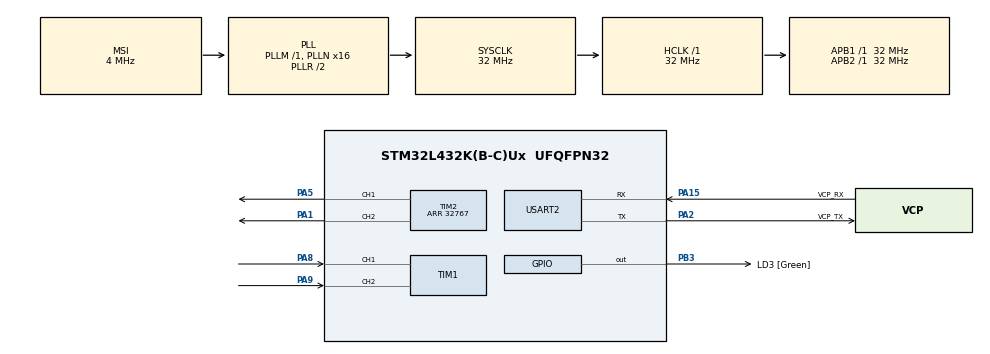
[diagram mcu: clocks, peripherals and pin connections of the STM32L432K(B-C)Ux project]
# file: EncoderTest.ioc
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Mcu.Family=STM32L4
Mcu.Name=STM32L432K(B-C)Ux
Mcu.Package=UFQFPN32
NVIC.PriorityGroup=NVIC_PRIORITYGROUP_4
NVIC.TIM1_BRK_TIM15_IRQn=true\:0\:0\:false\:false\:true\:true\:true\:true
NVIC.TIM1_CC_IRQn=true\:0\:0\:false\:false\:true\:true\:true\:true
NVIC.TIM1_TRG_COM_IRQn=true\:0\:0\:false\:false\:true\:true\:true\:true
NVIC.TIM1_UP_TIM16_IRQn=true\:0\:0\:false\:false\:true\:true\:true\:true
PA0.GPIO_Label=MCO [High speed clock in]
PA0.Mode=HSE-External-Clock-Source-for-LittleOrca
PA0.Signal=RCC_CK_IN
PA1.Signal=S_TIM2_CH2
PA13\ (JTMS-SWDIO).GPIO_Label=SWDIO
PA13\ (JTMS-SWDIO).Mode=Serial_Wire
PA13\ (JTMS-SWDIO).Signal=SYS_JTMS-SWDIO
PA14\ (JTCK-SWCLK).GPIO_Label=SWCLK
PA14\ (JTCK-SWCLK).Mode=Serial_Wire
PA14\ (JTCK-SWCLK).Signal=SYS_JTCK-SWCLK
PA15\ (JTDI).GPIO_Label=VCP_RX
PA15\ (JTDI).Mode=Asynchronous
PA15\ (JTDI).Signal=USART2_RX
PA2.GPIO_Label=VCP_TX
PA2.Mode=Asynchronous
PA2.Signal=USART2_TX
PA5.Signal=S_TIM2_CH1
PA8.Signal=S_TIM1_CH1
PA9.Signal=S_TIM1_CH2
PB3\ (JTDO-TRACESWO).GPIO_Label=LD3 [Green]
PB3\ (JTDO-TRACESWO).Signal=GPIO_Output
PC14-OSC32_IN\ (PC14).Mode=LSE-External-Oscillator
PC14-OSC32_IN\ (PC14).Signal=RCC_OSC32_IN
PC15-OSC32_OUT\ (PC15).Mode=LSE-External-Oscillator
PC15-OSC32_OUT\ (PC15).Signal=RCC_OSC32_OUT
ProjectManager.HeapSize=0x200
ProjectManager.StackSize=0x400
ProjectManager.TargetToolchain=STM32CubeIDE
RCC.AHBFreq_Value=32000000
RCC.APB1Freq_Value=32000000
RCC.APB1TimFreq_Value=32000000
RCC.APB2Freq_Value=32000000
RCC.APB2TimFreq_Value=32000000
RCC.CortexFreq_Value=32000000
RCC.HCLKFreq_Value=32000000
RCC.HSE_VALUE=8000000
RCC.HSI16_VALUE=16000000
RCC.HSI48_VALUE=48000000
RCC.HSI_VALUE=16000000
RCC.MSI_VALUE=4000000
RCC.PLLMUL=RCC_PLLMUL_4
RCC.PLLN=16
RCC.SYSCLKFreq_VALUE=32000000
RCC.SYSCLKSource=RCC_SYSCLKSOURCE_PLLCLK
RCC.VCOOutputFreq_Value=64000000
SH.S_TIM1_CH1.0=TIM1_CH1,Encoder_Interface
SH.S_TIM1_CH2.0=TIM1_CH2,Encoder_Interface
SH.S_TIM2_CH1.0=TIM2_CH1,PWM Generation1 CH1
SH.S_TIM2_CH2.0=TIM2_CH2,PWM Generation2 CH2
TIM1.EncoderMode=TIM_ENCODERMODE_TI12
TIM1.IC1Polarity=TIM_ICPOLARITY_FALLING
TIM1.IC2Polarity=TIM_ICPOLARITY_FALLING
TIM2.AutoReloadPreload=TIM_AUTORELOAD_PRELOAD_ENABLE
TIM2.Channel-PWM\ Generation1\ CH1=TIM_CHANNEL_1
TIM2.Channel-PWM\ Generation2\ CH2=TIM_CHANNEL_2
TIM2.OCPolarity_1=TIM_OCPOLARITY_HIGH
TIM2.Period=32767
TIM2.Pulse-PWM\ Generation1\ CH1=0
USART2.VirtualMode-Asynchronous=VM_ASYNC
VP_TIM2_VS_ClockSourceINT.Mode=Internal
board=NUCLEO-L432KC

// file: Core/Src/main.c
/* USER CODE BEGIN Header */
/**
  ******************************************************************************
  * @file           : main.c
  * @brief          : Main program body
  ******************************************************************************
  * @attention
  *
  * Copyright (c) 2024 STMicroelectronics.
  * All rights reserved.
  *
  * This software is licensed under terms that can be found in the LICENSE file
  * in the root directory of this software component.
  * If no LICENSE file comes with this software, it is provided AS-IS.
  *
  ******************************************************************************
  */
/* USER CODE END Header */
#include "main.h"

/* USER CODE BEGIN Includes */
#include "pid.h"
#include <stdio.h>
/* USER CODE END Includes */

/* USER CODE BEGIN PD */
#define MAX_PWM 255
#define MIN_PWM 20
#define Kp 5
#define HYSTERESIS 0
/* USER CODE END PD */

TIM_HandleTypeDef htim1;
TIM_HandleTypeDef htim2;

UART_HandleTypeDef huart2;

/* USER CODE BEGIN PV */

// TIM_Encoder variables
uint32_t counter = 0;
int16_t count, previous_count = 0, delta;
int32_t position = 0;
int32_t scaled_position;

// testing variables
uint32_t time, previous_time, previous_time_2 = 0;
uint32_t position_delta = 1;
uint8_t direction = 1;

// PID variables
PID_TypeDef TPID;
double EncoderPosition, PIDOut, TargetPosition;

/* USER CODE END PV */

void SystemClock_Config(void);
static void MX_GPIO_Init(void);
static void MX_USART2_UART_Init(void);
static void MX_TIM1_Init(void);
static void MX_TIM2_Init(void);

/* USER CODE BEGIN 0 */

void HAL_TIM_IC_CaptureCallback(TIM_HandleTypeDef *htim)
{
    counter = __HAL_TIM_GET_COUNTER(htim);
    count = (int16_t)counter;

    // Calculate delta and detect overflow/underflow
    delta = count - previous_count;

    if (delta > 32767) {
        // Underflow detected
        position -= 65536;
    } else if (delta < -32768) {
        // Overflow detected
        position += 65536;
    }

    // Accumulate the position
    position += delta;

    // Scale for encoder steps (divide by 4)
    scaled_position = position / 4;
    EncoderPosition = (double)scaled_position;
    // Update the previous count
    previous_count = count;
}
/* USER CODE END 0 */

int main(void)
{

  /* MCU Configuration--------------------------------------------------------*/

  /* Reset of all peripherals, Initializes the Flash interface and the Systick. */
  HAL_Init();

  /* Configure the system clock */
  SystemClock_Config();

  /* Initialize all configured peripherals */
  MX_GPIO_Init();
  MX_USART2_UART_Init();
  MX_TIM1_Init();
  MX_TIM2_Init();
  /* USER CODE BEGIN 2 */

  // Timer Calls
  HAL_TIM_Encoder_Start_IT(&htim1, TIM_CHANNEL_ALL);
  HAL_TIM_PWM_Start(&htim2, TIM_CHANNEL_1);
  HAL_TIM_PWM_Start(&htim2, TIM_CHANNEL_2);
  __HAL_TIM_SET_COMPARE(&htim2, TIM_CHANNEL_1, 0);
  __HAL_TIM_SET_COMPARE(&htim2, TIM_CHANNEL_2, 0);

  // PID calls
  TargetPosition = 0;
  PID(&TPID, &EncoderPosition, &PIDOut, &TargetPosition, 1500, 0, 9,  _PID_P_ON_E, _PID_CD_DIRECT);
  PID_SetMode(&TPID, _PID_MODE_AUTOMATIC);
  PID_SetSampleTime(&TPID, 1);
  PID_SetOutputLimits(&TPID, -32767, 32767);
  /* USER CODE END 2 */

  /* Infinite loop */
  /* USER CODE BEGIN WHILE */
  while (1)
  {

	  	PID_Compute(&TPID);
	    if(PIDOut > 0){
	    	__HAL_TIM_SET_COMPARE(&htim2, TIM_CHANNEL_1, PIDOut);
	    	__HAL_TIM_SET_COMPARE(&htim2, TIM_CHANNEL_2, 0);
	    }else if (PIDOut < 0){
	    	__HAL_TIM_SET_COMPARE(&htim2, TIM_CHANNEL_1, 0);
	    	__HAL_TIM_SET_COMPARE(&htim2, TIM_CHANNEL_2, (PIDOut * -1));
	    }else{
	    	__HAL_TIM_SET_COMPARE(&htim2, TIM_CHANNEL_1, 0);
	    	__HAL_TIM_SET_COMPARE(&htim2, TIM_CHANNEL_2, 0);
	    }
      // get time in ms
      time = HAL_GetTick();
      if (time - previous_time >= 1000) {
        previous_time = time;
//        if(direction){
//        	TargetPosition += 10;
//        }else{
//           TargetPosition -= 10;
//        }

        TargetPosition += 590;
      }
//      if (TargetPosition > 200) {
//    	  direction = 0;
//      }else if(TargetPosition < -1){
//    	  direction = 1;
//      }
        //char buffer[10];
        //sprintf(buffer, "%lf\n\r", EncoderPosition);
        //HAL_UART_Transmit(&huart2, (uint8_t*)buffer, strlen(buffer), 60);

        HAL_Delay(1);

    /* USER CODE END WHILE */

  }
}

void SystemClock_Config(void)
{
  RCC_OscInitTypeDef RCC_OscInitStruct = {0};
  RCC_ClkInitTypeDef RCC_ClkInitStruct = {0};

  /** Configure the main internal regulator output voltage
  */
  if (HAL_PWREx_ControlVoltageScaling(PWR_REGULATOR_VOLTAGE_SCALE1) != HAL_OK)
  {
    Error_Handler();
  }

  /** Configure LSE Drive Capability
  */
  HAL_PWR_EnableBkUpAccess();
  __HAL_RCC_LSEDRIVE_CONFIG(RCC_LSEDRIVE_LOW);

  /** Initializes the RCC Oscillators according to the specified parameters
  * in the RCC_OscInitTypeDef structure.
  */
  RCC_OscInitStruct.OscillatorType = RCC_OSCILLATORTYPE_LSE|RCC_OSCILLATORTYPE_MSI;
  RCC_OscInitStruct.LSEState = RCC_LSE_ON;
  RCC_OscInitStruct.MSIState = RCC_MSI_ON;
  RCC_OscInitStruct.MSICalibrationValue = 0;
  RCC_OscInitStruct.MSIClockRange = RCC_MSIRANGE_6;
  RCC_OscInitStruct.PLL.PLLState = RCC_PLL_ON;
  RCC_OscInitStruct.PLL.PLLSource = RCC_PLLSOURCE_MSI;
  RCC_OscInitStruct.PLL.PLLM = 1;
  RCC_OscInitStruct.PLL.PLLN = 16;
  RCC_OscInitStruct.PLL.PLLP = RCC_PLLP_DIV7;
  RCC_OscInitStruct.PLL.PLLQ = RCC_PLLQ_DIV2;
  RCC_OscInitStruct.PLL.PLLR = RCC_PLLR_DIV2;
  if (HAL_RCC_OscConfig(&RCC_OscInitStruct) != HAL_OK)
  {
    Error_Handler();
  }

  /** Initializes the CPU, AHB and APB buses clocks
  */
  RCC_ClkInitStruct.ClockType = RCC_CLOCKTYPE_HCLK|RCC_CLOCKTYPE_SYSCLK
                              |RCC_CLOCKTYPE_PCLK1|RCC_CLOCKTYPE_PCLK2;
  RCC_ClkInitStruct.SYSCLKSource = RCC_SYSCLKSOURCE_PLLCLK;
  RCC_ClkInitStruct.AHBCLKDivider = RCC_SYSCLK_DIV1;
  RCC_ClkInitStruct.APB1CLKDivider = RCC_HCLK_DIV1;
  RCC_ClkInitStruct.APB2CLKDivider = RCC_HCLK_DIV1;

  if (HAL_RCC_ClockConfig(&RCC_ClkInitStruct, FLASH_LATENCY_1) != HAL_OK)
  {
    Error_Handler();
  }

  /** Enable MSI Auto calibration
  */
  HAL_RCCEx_EnableMSIPLLMode();
}

static void MX_TIM1_Init(void)
{

  TIM_Encoder_InitTypeDef sConfig = {0};
  TIM_MasterConfigTypeDef sMasterConfig = {0};

  htim1.Instance = TIM1;
  htim1.Init.Prescaler = 0;
  htim1.Init.CounterMode = TIM_COUNTERMODE_UP;
  htim1.Init.Period = 65535;
  htim1.Init.ClockDivision = TIM_CLOCKDIVISION_DIV1;
  htim1.Init.RepetitionCounter = 0;
  htim1.Init.AutoReloadPreload = TIM_AUTORELOAD_PRELOAD_DISABLE;
  sConfig.EncoderMode = TIM_ENCODERMODE_TI12;
  sConfig.IC1Polarity = TIM_ICPOLARITY_FALLING;
  sConfig.IC1Selection = TIM_ICSELECTION_DIRECTTI;
  sConfig.IC1Prescaler = TIM_ICPSC_DIV1;
  sConfig.IC1Filter = 0;
  sConfig.IC2Polarity = TIM_ICPOLARITY_FALLING;
  sConfig.IC2Selection = TIM_ICSELECTION_DIRECTTI;
  sConfig.IC2Prescaler = TIM_ICPSC_DIV1;
  sConfig.IC2Filter = 0;
  if (HAL_TIM_Encoder_Init(&htim1, &sConfig) != HAL_OK)
  {
    Error_Handler();
  }
  sMasterConfig.MasterOutputTrigger = TIM_TRGO_RESET;
  sMasterConfig.MasterOutputTrigger2 = TIM_TRGO2_RESET;
  sMasterConfig.MasterSlaveMode = TIM_MASTERSLAVEMODE_DISABLE;
  if (HAL_TIMEx_MasterConfigSynchronization(&htim1, &sMasterConfig) != HAL_OK)
  {
    Error_Handler();
  }

}

static void MX_TIM2_Init(void)
{

  TIM_ClockConfigTypeDef sClockSourceConfig = {0};
  TIM_MasterConfigTypeDef sMasterConfig = {0};
  TIM_OC_InitTypeDef sConfigOC = {0};

  htim2.Instance = TIM2;
  htim2.Init.Prescaler = 0;
  htim2.Init.CounterMode = TIM_COUNTERMODE_UP;
  htim2.Init.Period = 32767;
  htim2.Init.ClockDivision = TIM_CLOCKDIVISION_DIV1;
  htim2.Init.AutoReloadPreload = TIM_AUTORELOAD_PRELOAD_ENABLE;
  if (HAL_TIM_Base_Init(&htim2) != HAL_OK)
  {
    Error_Handler();
  }
  sClockSourceConfig.ClockSource = TIM_CLOCKSOURCE_INTERNAL;
  if (HAL_TIM_ConfigClockSource(&htim2, &sClockSourceConfig) != HAL_OK)
  {
    Error_Handler();
  }
  if (HAL_TIM_PWM_Init(&htim2) != HAL_OK)
  {
    Error_Handler();
  }
  sMasterConfig.MasterOutputTrigger = TIM_TRGO_RESET;
  sMasterConfig.MasterSlaveMode = TIM_MASTERSLAVEMODE_DISABLE;
  if (HAL_TIMEx_MasterConfigSynchronization(&htim2, &sMasterConfig) != HAL_OK)
  {
    Error_Handler();
  }
  sConfigOC.OCMode = TIM_OCMODE_PWM1;
  sConfigOC.Pulse = 0;
  sConfigOC.OCPolarity = TIM_OCPOLARITY_HIGH;
  sConfigOC.OCFastMode = TIM_OCFAST_DISABLE;
  if (HAL_TIM_PWM_ConfigChannel(&htim2, &sConfigOC, TIM_CHANNEL_1) != HAL_OK)
  {
    Error_Handler();
  }
  if (HAL_TIM_PWM_ConfigChannel(&htim2, &sConfigOC, TIM_CHANNEL_2) != HAL_OK)
  {
    Error_Handler();
  }
  HAL_TIM_MspPostInit(&htim2);

}

static void MX_USART2_UART_Init(void)
{

  huart2.Instance = USART2;
  huart2.Init.BaudRate = 115200;
  huart2.Init.WordLength = UART_WORDLENGTH_8B;
  huart2.Init.StopBits = UART_STOPBITS_1;
  huart2.Init.Parity = UART_PARITY_NONE;
  huart2.Init.Mode = UART_MODE_TX_RX;
  huart2.Init.HwFlowCtl = UART_HWCONTROL_NONE;
  huart2.Init.OverSampling = UART_OVERSAMPLING_16;
  huart2.Init.OneBitSampling = UART_ONE_BIT_SAMPLE_DISABLE;
  huart2.AdvancedInit.AdvFeatureInit = UART_ADVFEATURE_NO_INIT;
  if (HAL_UART_Init(&huart2) != HAL_OK)
  {
    Error_Handler();
  }

}

static void MX_GPIO_Init(void)
{
  GPIO_InitTypeDef GPIO_InitStruct = {0};

  /* GPIO Ports Clock Enable */
  __HAL_RCC_GPIOC_CLK_ENABLE();
  __HAL_RCC_GPIOA_CLK_ENABLE();
  __HAL_RCC_GPIOB_CLK_ENABLE();

  /*Configure GPIO pin Output Level */
  HAL_GPIO_WritePin(LD3_GPIO_Port, LD3_Pin, GPIO_PIN_RESET);

  /*Configure GPIO pin : LD3_Pin */
  GPIO_InitStruct.Pin = LD3_Pin;
  GPIO_InitStruct.Mode = GPIO_MODE_OUTPUT_PP;
  GPIO_InitStruct.Pull = GPIO_NOPULL;
  GPIO_InitStruct.Speed = GPIO_SPEED_FREQ_LOW;
  HAL_GPIO_Init(LD3_GPIO_Port, &GPIO_InitStruct);

}

void Error_Handler(void)
{
  __disable_irq();
  while (1)
  {
  }
}
